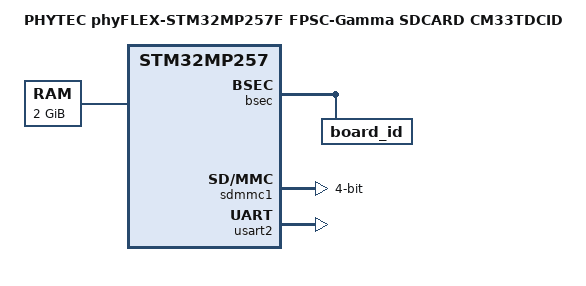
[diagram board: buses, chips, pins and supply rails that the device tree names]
// SPDX-License-Identifier: (GPL-2.0+ OR BSD-3-Clause)
/*
 * Copyright (C) 2026 PHYTEC Messtechnik GmbH
 * Authors: Christophe Parant <c.parant@phytec.fr>
 *          Nicolas Raimundo <n.raimundo@phytec.fr>
 */

/dts-v1/;

#include <dt-bindings/clock/stm32mp25-clksrc.h>
#include "stm32mp257.dtsi"
#include "stm32mp23xc.dtsi"
#include "stm32mp235c-phyflex-fpsc-g-som-m33td-rcc.dtsi"
#include "stm32mp25-lpddr4-1x16Gbits-1x32bits-1200MHz.dtsi"
#include "stm32mp25-lpddr4-alternate-1200MHz.dtsi"
#include "stm32mp25-ddr.dtsi"
#include "stm32mp25-ddr-alternate.dtsi"
#include "stm32mp25-pinctrl.dtsi"
#include "stm32mp25xxai-pinctrl.dtsi"
#include "stm32mp2-phyflex-fpsc-g-som-pinctrl.dtsi"

/ {
	model = "PHYTEC phyFLEX-STM32MP257F FPSC-Gamma SDCARD CM33TDCID";
	compatible = "phytec,stm32mp257f-phyflex-fpsc-g-som", "st,stm32mp257";

	aliases {
		serial0 = &usart2;
	};

	chosen {
		stdout-path = "serial0:115200n8";
	};

	memory@80000000 {
		device_type = "memory";
		reg = <0x0 0x80000000 0x0 0x80000000>;
	};

	cpu0_opp_table: cpu0-opp-table {
		compatible = "operating-points-v2";

		opp-1200000000 {
			opp-hz = /bits/ 64 <1200000000>;
			opp-microvolt = <800000>;
			opp-supported-hw = <0x3>;
			st,opp-default;
			st,pll = <&pll1_cfg_1200Mhz>;
		};
	};
};

&bsec {
	board_id: board_id@3d8 {
		reg = <0x3d8 0x4>;
	};
};

&cpu0 {
	operating-points-v2 = <&cpu0_opp_table>;
};

&sdmmc1 {
	pinctrl-names = "default";
	pinctrl-0 = <&sdmmc1_b4_pins_c>;
	st,neg-edge;
	bus-width = <4>;
	status = "okay";
};

&usart2 {
	pinctrl-names = "default";
	pinctrl-0 = <&usart2_pins_a>;
	status = "okay";
};
